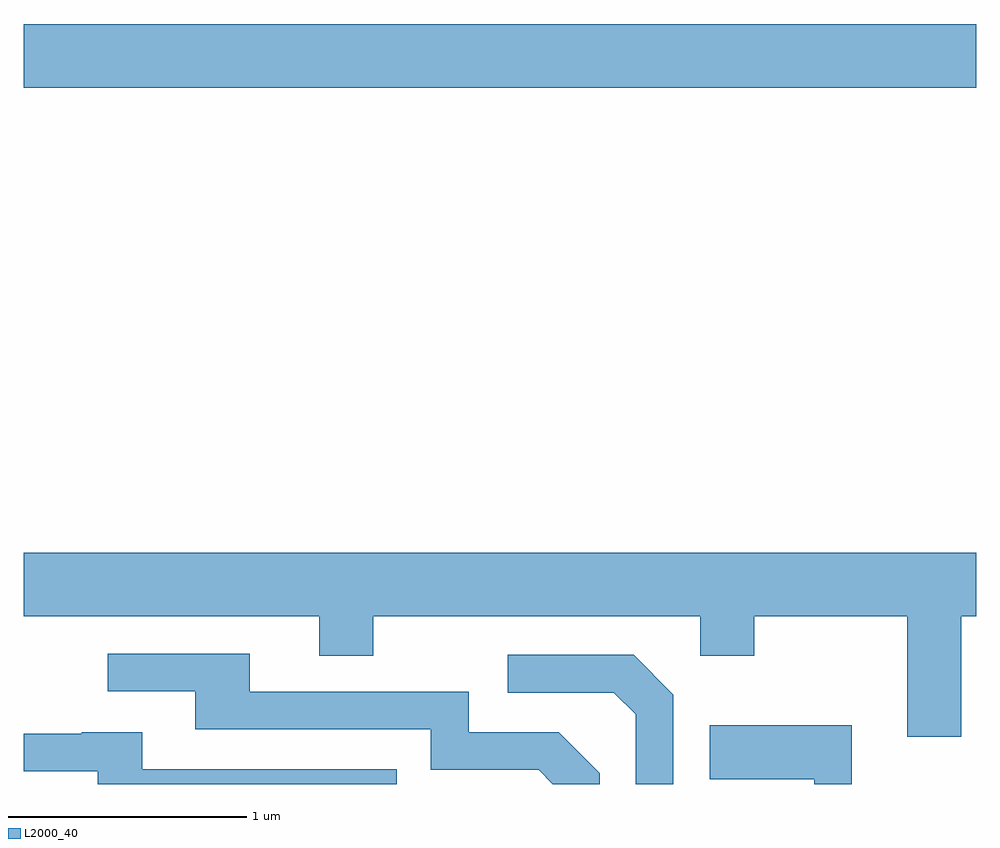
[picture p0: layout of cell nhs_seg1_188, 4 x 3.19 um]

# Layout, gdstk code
import gdstk
lib = gdstk.Library(unit=1e-6, precision=1e-09)
def R(c, l, rs):  # rectangles x0, y0, x1, y1
    for r in rs: c.add(gdstk.rectangle(r[:2], r[2:], *l))
def P(c, l, *ps):  # polygons
    for p in ps: c.add(gdstk.Polygon(p, *l))
L2000_40 = (2000, 40)

nhs_seg1_188 = lib.new_cell('nhs_seg1_188')
R(nhs_seg1_188, L2000_40, [(189.611,950.636,193.611,950.904)])
P(nhs_seg1_188, L2000_40, [(193.549,948.416),(193.611,948.416),(193.611,948.684),(189.611,948.684),(189.611,948.416),(190.851,948.416),(190.851,948.251),(191.079,948.251),(191.079,948.416),(192.451,948.416),(192.451,948.251),(192.679,948.251),(192.679,948.416),(193.321,948.416),(193.321,947.911),(193.549,947.911)],
  [(192.029,947.757),(191.857,947.929),(191.479,947.929),(191.479,948.099),(190.559,948.099),(190.559,948.259),(189.963,948.259),(189.963,948.101),(190.331,948.101),(190.331,947.941),(191.321,947.941),(191.321,947.771),(191.774,947.771),(191.833,947.712),(192.029,947.712)],
  [(192.339,948.087),(192.172,948.254),(191.643,948.254),(191.643,948.096),(192.089,948.096),(192.181,948.004),(192.181,947.712),(192.339,947.712)],
  [(193.089,947.959),(192.491,947.959),(192.491,947.731),(192.931,947.731),(192.931,947.712),(193.089,947.712)],
  [(191.178,947.774),(190.109,947.774),(190.109,947.929),(189.855,947.929),(189.855,947.924),(189.611,947.924),(189.611,947.766),(189.921,947.766),(189.921,947.712),(191.178,947.712)])

lib.write_gds('nhs_seg1_188.gds')
